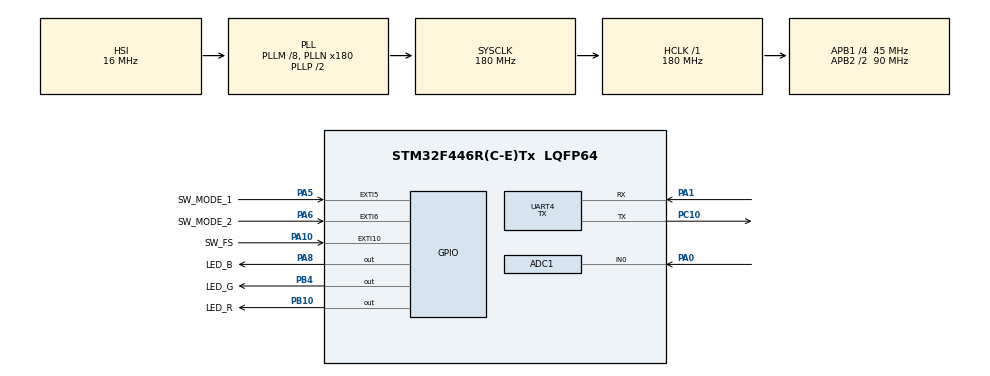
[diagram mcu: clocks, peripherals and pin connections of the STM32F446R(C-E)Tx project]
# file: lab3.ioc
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ADC1.Channel-0\#ChannelRegularConversion=ADC_CHANNEL_0
ADC1.DMAContinuousRequests=ENABLE
ADC1.ExternalTrigConv=ADC_EXTERNALTRIGCONV_T2_TRGO
ADC1.InjNumberOfConversion=0
ADC1.NbrOfConversionFlag=1
ADC1.Rank-0\#ChannelRegularConversion=1
ADC1.SamplingTime-0\#ChannelRegularConversion=ADC_SAMPLETIME_3CYCLES
ADC1.master=1
Dma.ADC1.0.Direction=DMA_PERIPH_TO_MEMORY
Dma.ADC1.0.FIFOMode=DMA_FIFOMODE_DISABLE
Dma.ADC1.0.Instance=DMA2_Stream0
Dma.ADC1.0.MemDataAlignment=DMA_MDATAALIGN_HALFWORD
Dma.ADC1.0.MemInc=DMA_MINC_ENABLE
Dma.ADC1.0.Mode=DMA_CIRCULAR
Dma.ADC1.0.PeriphDataAlignment=DMA_PDATAALIGN_HALFWORD
Dma.ADC1.0.PeriphInc=DMA_PINC_DISABLE
Dma.ADC1.0.Priority=DMA_PRIORITY_HIGH
Dma.Request0=ADC1
Mcu.Family=STM32F4
Mcu.Name=STM32F446R(C-E)Tx
Mcu.Package=LQFP64
NVIC.DMA2_Stream0_IRQn=true\:0\:0\:false\:false\:true\:false\:true\:true
NVIC.EXTI15_10_IRQn=true\:0\:0\:false\:false\:true\:true\:true\:true
NVIC.EXTI9_5_IRQn=true\:0\:0\:false\:false\:true\:true\:true\:true
NVIC.PriorityGroup=NVIC_PRIORITYGROUP_0
PA0-WKUP.Signal=ADCx_IN0
PA1.Mode=Asynchronous
PA1.Signal=UART4_RX
PA10.GPIO_Label=SW_FS
PA10.GPIO_ModeDefaultEXTI=GPIO_MODE_IT_FALLING
PA10.Signal=GPXTI10
PA13.GPIO_Label=TMS
PA13.Mode=Serial_Wire
PA13.Signal=SYS_JTMS-SWDIO
PA14.GPIO_Label=TCK
PA14.Mode=Serial_Wire
PA14.Signal=SYS_JTCK-SWCLK
PA5.GPIO_Label=SW_MODE_1
PA5.Signal=GPXTI5
PA6.GPIO_Label=SW_MODE_2
PA6.Signal=GPXTI6
PA8.GPIO_Label=LED_B
PA8.Signal=GPIO_Output
PB10.GPIO_Label=LED_R
PB10.Signal=GPIO_Output
PB3.GPIO_Label=SWO
PB3.Signal=SYS_JTDO-SWO
PB4.GPIO_Label=LED_G
PB4.Signal=GPIO_Output
PC10.Mode=Asynchronous
PC10.Signal=UART4_TX
PC14-OSC32_IN.Mode=LSE-External-Oscillator
PC14-OSC32_IN.Signal=RCC_OSC32_IN
PC15-OSC32_OUT.Mode=LSE-External-Oscillator
PC15-OSC32_OUT.Signal=RCC_OSC32_OUT
PH0-OSC_IN.Mode=HSE-External-Oscillator
PH0-OSC_IN.Signal=RCC_OSC_IN
PH1-OSC_OUT.Mode=HSE-External-Oscillator
PH1-OSC_OUT.Signal=RCC_OSC_OUT
ProjectManager.HeapSize=0x200
ProjectManager.StackSize=0x400
ProjectManager.TargetToolchain=STM32CubeIDE
RCC.48MHZClocksFreq_Value=84000000
RCC.AHBFreq_Value=180000000
RCC.APB1CLKDivider=RCC_HCLK_DIV4
RCC.APB1Freq_Value=45000000
RCC.APB1TimFreq_Value=90000000
RCC.APB2CLKDivider=RCC_HCLK_DIV2
RCC.APB2Freq_Value=90000000
RCC.APB2TimFreq_Value=180000000
RCC.CortexFreq_Value=180000000
RCC.FLatency-AdvancedSettings=FLASH_LATENCY_5
RCC.HCLKFreq_Value=180000000
RCC.HSE_VALUE=8000000
RCC.HSI_VALUE=16000000
RCC.PLLM=8
RCC.PLLN=180
RCC.SYSCLKFreq_VALUE=180000000
RCC.SYSCLKSource=RCC_SYSCLKSOURCE_PLLCLK
RCC.USBFreq_Value=180000000
RCC.VCOOutputFreq_Value=360000000
SH.ADCx_IN0.0=ADC1_IN0,IN0
TIM2.AutoReloadPreload=TIM_AUTORELOAD_PRELOAD_ENABLE
TIM2.Period=11249
TIM2.TIM_MasterOutputTrigger=TIM_TRGO_UPDATE
UART4.Mode=MODE_TX
UART4.VirtualMode=Asynchronous
VP_TIM2_VS_ClockSourceINT.Mode=Internal
board=NUCLEO-F446RE

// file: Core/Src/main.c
/* USER CODE BEGIN Header */
/**
 ******************************************************************************
 * @file           : main.c
 * @brief          : ADC sampling -> Q15 processing -> using DMA
 *
 * This program implements real-time signal acquisition and analysis using
 * the STM32F446RE . It samples an analog signal via ADC,
 * converts it to Q15 format, optionally computes the FFT using CMSIS-DSP,
 * and transmits the result via UART. User input through GPIO allows for
 * runtime configuration of sampling rate, FFT size, and processing mode.
 ******************************************************************************
 */
/* USER CODE END Header */
#include "main.h"
#include "adc.h"
#include "dma.h"
#include "tim.h"
#include "usart.h"
#include "gpio.h"

/* USER CODE BEGIN Includes */
#include "arm_math.h" // CMSIS-DSP library for fixed-point signal processing
#include <stdio.h>
/* USER CODE END Includes */

/* USER CODE BEGIN PD */
#define BUFFER_SIZE 2048     // Maximum buffer size (supports up to 2048-point FFT)
#define FS_8K   11249        // Timer auto-reload value to achieve ~8 kHz sampling with 90 MHz clock
/* USER CODE END PD */

/* USER CODE BEGIN PV */
extern TIM_HandleTypeDef htim2;      // Timer used to trigger ADC conversions
extern ADC_HandleTypeDef hadc1;      // ADC handle for sampling input
extern UART_HandleTypeDef huart4;    // UART handle for data transmission

// CMSIS-DSP FFT structures for different transform lengths
extern arm_cfft_instance_q15 arm_cfft_sR_q15_len512;
extern arm_cfft_instance_q15 arm_cfft_sR_q15_len1024;
extern arm_cfft_instance_q15 arm_cfft_sR_q15_len2048;

uint16_t adc_buffer[BUFFER_SIZE];           // Buffer to store raw ADC samples
q15_t q15_buffer[BUFFER_SIZE];              // Buffer for Q15-converted values
volatile q15_t q15_complex_buffer[BUFFER_SIZE]; // Complex buffer for FFT input (real/imag interleaved)
volatile uint8_t fs_mode = 0;               // Sampling frequency mode selector (0–5)
volatile uint32_t time_fft = 0;        		 // Time to compute FFT
volatile uint32_t time_mag = 0;    			 // Time to compute magnitude
volatile uint32_t time_uart = 0;   			 // Time spent in UART transmission
volatile uint32_t time_total = 0;  			 // Total time from start to end
volatile uint8_t window_size = 0;           // FFT window size index (0: 512, 1: 1024, 2: 2048)
volatile uint16_t data_size = 512;          // Current FFT input size
volatile uint8_t bypass = 0;                // Bypass FFT (send raw Q15 data if set)

arm_cfft_instance_q15 *transform = NULL;    // Pointer to the current FFT configuration
/* USER CODE END PV */

void SystemClock_Config(void);

/* USER CODE BEGIN 0 */

// Transmit raw Q15 buffer over UART (used in bypass mode)
void send_raw_q15_over_uart(q15_t *buffer, uint16_t len) {
    uint8_t header[2] = {fs_mode, window_size}; // Header includes current mode and FFT size
    HAL_UART_Transmit(&huart4, header, 2, HAL_MAX_DELAY);
    HAL_UART_Transmit(&huart4, (uint8_t *)buffer, len * sizeof(q15_t), HAL_MAX_DELAY);
}

// Transmit FFT magnitude spectrum over UART
void send_fft_magnitudes_over_uart(q15_t *complex_buffer, uint16_t fft_len) {
    uint16_t N = fft_len / 2 + 1; // FFT is symmetric, so only half spectrum needed
    q15_t magnitudes[N];

    for (uint16_t i = 0; i < N; i++) {
        q31_t real = (q31_t)complex_buffer[2 * i];
        q31_t imag = (q31_t)complex_buffer[2 * i + 1];

        q31_t mag_sq = ((real * real) >> 15) + ((imag * imag) >> 15); // Compute squared magnitude
        q15_t mag;
        arm_sqrt_q15((q15_t)mag_sq, &mag); // Convert to magnitude
        magnitudes[i] = mag;
    }

    uint8_t header[2] = {fs_mode, window_size};
    HAL_UART_Transmit(&huart4, header, 2, HAL_MAX_DELAY);               // Send header
    HAL_UART_Transmit(&huart4, (uint8_t*)magnitudes, sizeof(magnitudes), HAL_MAX_DELAY); // Send data
    const uint8_t footer[] = { '\n', '\n' };                             // Footer marks end of transmission
    HAL_UART_Transmit(&huart4, footer, sizeof(footer), HAL_MAX_DELAY);
}

// Main data processing routine, called on DMA half/full transfer
void process_buffer_half(uint16_t *adc_in, q15_t *q15_out, uint16_t offset) {
    uint32_t t_start = DWT->CYCCNT;

    // Step 1: Convert ADC values to Q15 format
    for (uint16_t i = 0; i < data_size / 2; i++) {
        q15_out[i + offset] = (q15_t)(((int32_t) adc_in[i + offset] * 32767) / 4095);
    }

    if (!bypass && transform != NULL) {
        // Step 2: Prepare complex buffer for FFT (imaginary part = 0)
        for (uint16_t i = 0; i < data_size / 2; i++) {
            q15_complex_buffer[2 * i] = q15_out[i + offset];
            q15_complex_buffer[2 * i + 1] = 0;
        }

        // Step 3: FFT computation
        uint32_t t_fft_start = DWT->CYCCNT;
        arm_cfft_q15(transform, (q15_t *)q15_complex_buffer, 0, 1);
        uint32_t t_fft_end = DWT->CYCCNT;

        // Step 4: Magnitude computation
        uint32_t t_mag_start = DWT->CYCCNT;

        uint16_t N = data_size / 2 + 1;
        q15_t magnitudes[N];
        for (uint16_t i = 0; i < N; i++) {
            q31_t real = (q31_t)q15_complex_buffer[2 * i];
            q31_t imag = (q31_t)q15_complex_buffer[2 * i + 1];
            q31_t mag_sq = ((real * real) >> 15) + ((imag * imag) >> 15);
            arm_sqrt_q15((q15_t)mag_sq, &magnitudes[i]);
        }

        uint32_t t_mag_end = DWT->CYCCNT;

        // Step 5: UART transmission (blocking)
        uint32_t t_uart_start = DWT->CYCCNT;
        uint8_t header[2] = {fs_mode, window_size};
        HAL_UART_Transmit(&huart4, header, 2, HAL_MAX_DELAY);
        HAL_UART_Transmit(&huart4, (uint8_t*)magnitudes, sizeof(magnitudes), HAL_MAX_DELAY);
        const uint8_t footer[] = { '\n', '\n' };
        HAL_UART_Transmit(&huart4, footer, sizeof(footer), HAL_MAX_DELAY);
        uint32_t t_uart_end = DWT->CYCCNT;

        // Timing results
        time_fft = t_fft_end - t_fft_start;
        time_mag = t_mag_end - t_mag_start;
        time_uart = t_uart_end - t_uart_start;
        time_total = t_uart_end - t_start;
    } else {
        // Bypass: send raw Q15 data
        uint32_t t_uart_start = DWT->CYCCNT;
        send_raw_q15_over_uart(&q15_out[offset], data_size / 2);
        uint32_t t_uart_end = DWT->CYCCNT;
        time_uart = t_uart_end - t_uart_start;
        time_fft = 0;
        time_mag = 0;
        time_total = t_uart_end - t_start;
    }
}

// Called when first half of the DMA buffer is filled
void HAL_ADC_ConvHalfCpltCallback(ADC_HandleTypeDef *hadc) {
    if (hadc->Instance == ADC1) {
        process_buffer_half((uint16_t *)adc_buffer, (q15_t *)q15_buffer, 0);
    }
}

// Called when the second half of the DMA buffer is filled
void HAL_ADC_ConvCpltCallback(ADC_HandleTypeDef *hadc) {
    if (hadc->Instance == ADC1) {
        process_buffer_half((uint16_t *)adc_buffer, (q15_t *)q15_buffer, data_size / 2);
    }
}

// Handle GPIO interrupts for mode control
void HAL_GPIO_EXTI_Callback(uint16_t GPIO_Pin) {
    if (GPIO_Pin == SW_FS_Pin) {
        fs_mode = (fs_mode + 1) % 6;         // Cycle through 6 sampling rates
        __HAL_TIM_DISABLE(&htim2);

        switch (fs_mode) {
        case 0:
            __HAL_TIM_SET_AUTORELOAD(&htim2, FS_8K);           // ~8 kHz
            HAL_GPIO_WritePin(LED_B_GPIO_Port, LED_B_Pin, GPIO_PIN_SET);
            HAL_GPIO_WritePin(LED_R_GPIO_Port, LED_R_Pin, GPIO_PIN_RESET);
            HAL_GPIO_WritePin(LED_G_GPIO_Port, LED_G_Pin, GPIO_PIN_RESET);
            break;
        case 1:
            __HAL_TIM_SET_AUTORELOAD(&htim2, FS_8K / 2);       // ~16 kHz
            HAL_GPIO_WritePin(LED_R_GPIO_Port, LED_R_Pin, GPIO_PIN_SET);
            HAL_GPIO_WritePin(LED_B_GPIO_Port, LED_B_Pin, GPIO_PIN_RESET);
            HAL_GPIO_WritePin(LED_G_GPIO_Port, LED_G_Pin, GPIO_PIN_RESET);
            break;
        case 2:
            __HAL_TIM_SET_AUTORELOAD(&htim2, FS_8K / 3);       // ~24 kHz
            HAL_GPIO_WritePin(LED_G_GPIO_Port, LED_G_Pin, GPIO_PIN_SET);
            HAL_GPIO_WritePin(LED_R_GPIO_Port, LED_R_Pin, GPIO_PIN_RESET);
            HAL_GPIO_WritePin(LED_B_GPIO_Port, LED_B_Pin, GPIO_PIN_RESET);
            break;
        case 3:
            __HAL_TIM_SET_AUTORELOAD(&htim2, FS_8K / 5);       // ~40 kHz
            HAL_GPIO_WritePin(LED_R_GPIO_Port, LED_R_Pin, GPIO_PIN_SET);
            HAL_GPIO_WritePin(LED_G_GPIO_Port, LED_G_Pin, GPIO_PIN_SET);
            HAL_GPIO_WritePin(LED_B_GPIO_Port, LED_B_Pin, GPIO_PIN_RESET);
            break;
        case 4:
            __HAL_TIM_SET_AUTORELOAD(&htim2, FS_8K / 6);       // ~48 kHz
            HAL_GPIO_WritePin(LED_B_GPIO_Port, LED_B_Pin, GPIO_PIN_SET);
            HAL_GPIO_WritePin(LED_R_GPIO_Port, LED_R_Pin, GPIO_PIN_SET);
            HAL_GPIO_WritePin(LED_G_GPIO_Port, LED_G_Pin, GPIO_PIN_RESET);
            break;
        case 5:
            __HAL_TIM_DISABLE(&htim2);                         // Stop sampling
            HAL_GPIO_WritePin(LED_B_GPIO_Port, LED_B_Pin, GPIO_PIN_RESET);
            HAL_GPIO_WritePin(LED_R_GPIO_Port, LED_R_Pin, GPIO_PIN_RESET);
            HAL_GPIO_WritePin(LED_G_GPIO_Port, LED_G_Pin, GPIO_PIN_RESET);
            return;
        }

        __HAL_TIM_SET_COUNTER(&htim2, 0);
        TIM2->EGR = TIM_EGR_UG; // Update event
        __HAL_TIM_ENABLE(&htim2);
    }

    if (GPIO_Pin == SW_MODE_1_Pin) {
        // Cycle through FFT sizes
        window_size = (window_size + 1) % 3;
        switch (window_size) {
        case 0:
            transform = &arm_cfft_sR_q15_len512;
            data_size = 512;
            break;
        case 1:
            transform = &arm_cfft_sR_q15_len1024;
            data_size = 1024;
            break;
        case 2:
            transform = &arm_cfft_sR_q15_len2048;
            data_size = 2048;
            break;
        }
    }

    if (GPIO_Pin == SW_MODE_2_Pin) {
        bypass = !bypass; // Toggle FFT processing
    }
}
/* USER CODE END 0 */

int main(void)
{

  /* USER CODE BEGIN 1 */
    // Enable DWT counter for execution time measurement
    CoreDebug->DEMCR |= CoreDebug_DEMCR_TRCENA_Msk;
    DWT->CYCCNT = 0;
    DWT->CTRL |= DWT_CTRL_CYCCNTENA_Msk;
  /* USER CODE END 1 */

  /* MCU Configuration--------------------------------------------------------*/

  /* Reset of all peripherals, Initializes the Flash interface and the Systick. */
  HAL_Init();

  /* Configure the system clock */
  SystemClock_Config();

  /* Initialize all configured peripherals */
  MX_GPIO_Init();
  MX_DMA_Init();
  MX_ADC1_Init();
  MX_TIM2_Init();
  MX_UART4_Init();
  /* USER CODE BEGIN 2 */
    // Default mode: 8kHz sampling and 512-point FFT
    HAL_GPIO_WritePin(LED_B_GPIO_Port, LED_B_Pin, GPIO_PIN_SET);
    HAL_GPIO_WritePin(LED_R_GPIO_Port, LED_R_Pin, GPIO_PIN_RESET);
    HAL_GPIO_WritePin(LED_G_GPIO_Port, LED_G_Pin, GPIO_PIN_RESET);

    HAL_TIM_Base_Start(&htim2); // Start timer
    HAL_ADC_Start_DMA(&hadc1, (uint32_t*) adc_buffer, BUFFER_SIZE); // Start ADC DMA

    transform = &arm_cfft_sR_q15_len512;
    data_size = 512;
  /* USER CODE END 2 */

  /* Infinite loop */
    while (1) {

    /* USER CODE BEGIN 3 */
        // No processing in main loop. All operations are interrupt-driven.
    }
  /* USER CODE END 3 */
}

void SystemClock_Config(void)
{
  RCC_OscInitTypeDef RCC_OscInitStruct = {0};
  RCC_ClkInitTypeDef RCC_ClkInitStruct = {0};

  /** Configure the main internal regulator output voltage
  */
  __HAL_RCC_PWR_CLK_ENABLE();
  __HAL_PWR_VOLTAGESCALING_CONFIG(PWR_REGULATOR_VOLTAGE_SCALE1);

  /** Initializes the RCC Oscillators according to the specified parameters
  * in the RCC_OscInitTypeDef structure.
  */
  RCC_OscInitStruct.OscillatorType = RCC_OSCILLATORTYPE_HSI;
  RCC_OscInitStruct.HSIState = RCC_HSI_ON;
  RCC_OscInitStruct.HSICalibrationValue = RCC_HSICALIBRATION_DEFAULT;
  RCC_OscInitStruct.PLL.PLLState = RCC_PLL_ON;
  RCC_OscInitStruct.PLL.PLLSource = RCC_PLLSOURCE_HSI;
  RCC_OscInitStruct.PLL.PLLM = 8;
  RCC_OscInitStruct.PLL.PLLN = 180;
  RCC_OscInitStruct.PLL.PLLP = RCC_PLLP_DIV2;
  RCC_OscInitStruct.PLL.PLLQ = 2;
  RCC_OscInitStruct.PLL.PLLR = 2;
  if (HAL_RCC_OscConfig(&RCC_OscInitStruct) != HAL_OK)
  {
    Error_Handler();
  }

  /** Activate the Over-Drive mode
  */
  if (HAL_PWREx_EnableOverDrive() != HAL_OK)
  {
    Error_Handler();
  }

  /** Initializes the CPU, AHB and APB buses clocks
  */
  RCC_ClkInitStruct.ClockType = RCC_CLOCKTYPE_HCLK|RCC_CLOCKTYPE_SYSCLK
                              |RCC_CLOCKTYPE_PCLK1|RCC_CLOCKTYPE_PCLK2;
  RCC_ClkInitStruct.SYSCLKSource = RCC_SYSCLKSOURCE_PLLCLK;
  RCC_ClkInitStruct.AHBCLKDivider = RCC_SYSCLK_DIV1;
  RCC_ClkInitStruct.APB1CLKDivider = RCC_HCLK_DIV4;
  RCC_ClkInitStruct.APB2CLKDivider = RCC_HCLK_DIV2;

  if (HAL_RCC_ClockConfig(&RCC_ClkInitStruct, FLASH_LATENCY_5) != HAL_OK)
  {
    Error_Handler();
  }
}

void Error_Handler(void)
{
  /* USER CODE BEGIN Error_Handler_Debug */
	// Stay in infinite loop on error
	__disable_irq();
	while (1) {
	}
  /* USER CODE END Error_Handler_Debug */
}

#ifdef  USE_FULL_ASSERT
/**
  * @brief  Reports the name of the source file and the source line number
  *         where the assert_param error has occurred.
  * @param  file: pointer to the source file name
  * @param  line: assert_param error line source number
  * @retval None
  */
void assert_failed(uint8_t *file, uint32_t line)
{
  /* USER CODE BEGIN 6 */
  // Custom assert handler (optional user-defined implementation)
  /* USER CODE END 6 */
}
#endif /* USE_FULL_ASSERT */
